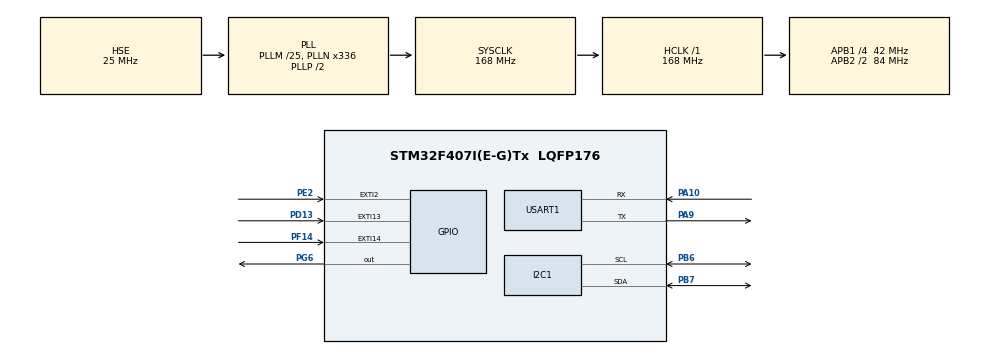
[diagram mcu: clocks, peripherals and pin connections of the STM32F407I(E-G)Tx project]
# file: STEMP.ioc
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I2C1.GeneralCallMode=I2C_GENERALCALL_ENABLE
IWDG.Prescaler=IWDG_PRESCALER_8
IWDG.Reload=2600
Mcu.Family=STM32F4
Mcu.Name=STM32F407I(E-G)Tx
Mcu.Package=LQFP176
NVIC.EXTI15_10_IRQn=true\:0\:0\:false\:false\:true\:true\:true\:true
NVIC.I2C1_ER_IRQn=true\:0\:0\:false\:false\:true\:true\:true\:true
NVIC.I2C1_EV_IRQn=true\:0\:0\:false\:false\:true\:true\:true\:true
NVIC.PriorityGroup=NVIC_PRIORITYGROUP_4
NVIC.USART1_IRQn=true\:0\:0\:false\:false\:true\:true\:true\:true
PA10.Mode=Asynchronous
PA10.Signal=USART1_RX
PA9.Mode=Asynchronous
PA9.Signal=USART1_TX
PB6.GPIO_Pu=GPIO_PULLUP
PB6.GPIO_Speed=GPIO_SPEED_FREQ_VERY_HIGH
PB6.Mode=I2C
PB6.Signal=I2C1_SCL
PB7.GPIO_Pu=GPIO_PULLUP
PB7.Mode=I2C
PB7.Signal=I2C1_SDA
PD13.GPIO_ModeDefaultEXTI=GPIO_MODE_IT_FALLING
PD13.Signal=GPXTI13
PE2.Signal=GPXTI2
PF14.GPIO_ModeDefaultEXTI=GPIO_MODE_IT_RISING_FALLING
PF14.GPIO_PuPd=GPIO_NOPULL
PF14.Signal=GPXTI14
PG6.Signal=GPIO_Output
PH0-OSC_IN.Mode=HSE-External-Oscillator
PH0-OSC_IN.Signal=RCC_OSC_IN
PH1-OSC_OUT.Mode=HSE-External-Oscillator
PH1-OSC_OUT.Signal=RCC_OSC_OUT
ProjectManager.HeapSize=0x200
ProjectManager.StackSize=0x400
ProjectManager.TargetToolchain=STM32CubeIDE
RCC.48MHZClocksFreq_Value=48000000
RCC.AHBFreq_Value=168000000
RCC.APB1CLKDivider=RCC_HCLK_DIV4
RCC.APB1Freq_Value=42000000
RCC.APB1TimFreq_Value=84000000
RCC.APB2CLKDivider=RCC_HCLK_DIV2
RCC.APB2Freq_Value=84000000
RCC.APB2TimFreq_Value=168000000
RCC.CortexFreq_Value=168000000
RCC.HCLKFreq_Value=168000000
RCC.HSE_VALUE=25000000
RCC.HSI_VALUE=16000000
RCC.LSE_VALUE=32768
RCC.PLLM=25
RCC.PLLN=336
RCC.PLLQ=7
RCC.PLLSourceVirtual=RCC_PLLSOURCE_HSE
RCC.SYSCLKFreq_VALUE=168000000
RCC.SYSCLKSource=RCC_SYSCLKSOURCE_PLLCLK
RCC.VCOOutputFreq_Value=336000000
USART1.VirtualMode=VM_ASYNC
VP_CRC_VS_CRC.Mode=CRC_Activate
VP_IWDG_VS_IWDG.Mode=IWDG_Activate
VP_RNG_VS_RNG.Mode=RNG_Activate
board=custom

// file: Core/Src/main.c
/* USER CODE BEGIN Header */
/**
  ******************************************************************************
  * @file           : main.c
  * @brief          : Main program body
  ******************************************************************************
  * @attention
  *
  * Copyright (c) 2024 STMicroelectronics.
  * All rights reserved.
  *
  * This software is licensed under terms that can be found in the LICENSE file
  * in the root directory of this software component.
  * If no LICENSE file comes with this software, it is provided AS-IS.
  *
  ******************************************************************************
  */
/* USER CODE END Header */
#include "main.h"

/* USER CODE BEGIN Includes */
#include "lm75a.h"
#include "beep.h"
#include "zlg7290.h"

#include "sm.h"

/* USER CODE END Includes */

CRC_HandleTypeDef hcrc;

I2C_HandleTypeDef hi2c1;

IWDG_HandleTypeDef hiwdg;

RNG_HandleTypeDef hrng;

UART_HandleTypeDef huart1;

void SystemClock_Config(void);
static void MX_GPIO_Init(void);
static void MX_I2C1_Init(void);
static void MX_USART1_UART_Init(void);
static void MX_CRC_Init(void);
static void MX_IWDG_Init(void);
static void MX_RNG_Init(void);

int main(void)
{

  /* USER CODE BEGIN 1 */
  extern void Boostrap();
  Boostrap();

  /* USER CODE END 1 */

  /* MCU Configuration--------------------------------------------------------*/

  /* Reset of all peripherals, Initializes the Flash interface and the Systick. */
  HAL_Init();

  /* Configure the system clock */
  SystemClock_Config();

  /* USER CODE BEGIN SysInit */

  // Delay for hardware reset
  HAL_Delay(50);

  /* USER CODE END SysInit */

  /* Initialize all configured peripherals */
  MX_GPIO_Init();
  MX_I2C1_Init();
  MX_USART1_UART_Init();
  MX_CRC_Init();
  MX_IWDG_Init();
  MX_RNG_Init();
  /* USER CODE BEGIN 2 */

  SM_Init();
  /* USER CODE END 2 */

  /* Infinite loop */
  while (1)
  {

    /* USER CODE BEGIN 3 */
#ifndef DEBUG
    HAL_IWDG_Refresh(&hiwdg);
#endif
    SM_Run();
  }
  /* USER CODE END 3 */
}

void SystemClock_Config(void)
{
  RCC_OscInitTypeDef RCC_OscInitStruct = {0};
  RCC_ClkInitTypeDef RCC_ClkInitStruct = {0};

  /** Configure the main internal regulator output voltage
  */
  __HAL_RCC_PWR_CLK_ENABLE();
  __HAL_PWR_VOLTAGESCALING_CONFIG(PWR_REGULATOR_VOLTAGE_SCALE1);

  /** Initializes the RCC Oscillators according to the specified parameters
  * in the RCC_OscInitTypeDef structure.
  */
  RCC_OscInitStruct.OscillatorType = RCC_OSCILLATORTYPE_LSI|RCC_OSCILLATORTYPE_HSE;
  RCC_OscInitStruct.HSEState = RCC_HSE_ON;
  RCC_OscInitStruct.LSIState = RCC_LSI_ON;
  RCC_OscInitStruct.PLL.PLLState = RCC_PLL_ON;
  RCC_OscInitStruct.PLL.PLLSource = RCC_PLLSOURCE_HSE;
  RCC_OscInitStruct.PLL.PLLM = 25;
  RCC_OscInitStruct.PLL.PLLN = 336;
  RCC_OscInitStruct.PLL.PLLP = RCC_PLLP_DIV2;
  RCC_OscInitStruct.PLL.PLLQ = 7;
  if (HAL_RCC_OscConfig(&RCC_OscInitStruct) != HAL_OK)
  {
    Error_Handler();
  }

  /** Initializes the CPU, AHB and APB buses clocks
  */
  RCC_ClkInitStruct.ClockType = RCC_CLOCKTYPE_HCLK|RCC_CLOCKTYPE_SYSCLK
                              |RCC_CLOCKTYPE_PCLK1|RCC_CLOCKTYPE_PCLK2;
  RCC_ClkInitStruct.SYSCLKSource = RCC_SYSCLKSOURCE_PLLCLK;
  RCC_ClkInitStruct.AHBCLKDivider = RCC_SYSCLK_DIV1;
  RCC_ClkInitStruct.APB1CLKDivider = RCC_HCLK_DIV4;
  RCC_ClkInitStruct.APB2CLKDivider = RCC_HCLK_DIV2;

  if (HAL_RCC_ClockConfig(&RCC_ClkInitStruct, FLASH_LATENCY_5) != HAL_OK)
  {
    Error_Handler();
  }
}

static void MX_CRC_Init(void)
{

  hcrc.Instance = CRC;
  if (HAL_CRC_Init(&hcrc) != HAL_OK)
  {
    Error_Handler();
  }

}

static void MX_I2C1_Init(void)
{

  hi2c1.Instance = I2C1;
  hi2c1.Init.ClockSpeed = 100000;
  hi2c1.Init.DutyCycle = I2C_DUTYCYCLE_2;
  hi2c1.Init.OwnAddress1 = 0;
  hi2c1.Init.AddressingMode = I2C_ADDRESSINGMODE_7BIT;
  hi2c1.Init.DualAddressMode = I2C_DUALADDRESS_DISABLE;
  hi2c1.Init.OwnAddress2 = 0;
  hi2c1.Init.GeneralCallMode = I2C_GENERALCALL_ENABLE;
  hi2c1.Init.NoStretchMode = I2C_NOSTRETCH_DISABLE;
  if (HAL_I2C_Init(&hi2c1) != HAL_OK)
  {
    Error_Handler();
  }

}

static void MX_IWDG_Init(void)
{

  /* USER CODE BEGIN IWDG_Init 0 */
#ifdef DEBUG
  return; // Disable IWDG in debug mode
#endif
  /* USER CODE END IWDG_Init 0 */

  hiwdg.Instance = IWDG;
  hiwdg.Init.Prescaler = IWDG_PRESCALER_8;
  hiwdg.Init.Reload = 2600;
  if (HAL_IWDG_Init(&hiwdg) != HAL_OK)
  {
    Error_Handler();
  }

}

static void MX_RNG_Init(void)
{

  hrng.Instance = RNG;
  if (HAL_RNG_Init(&hrng) != HAL_OK)
  {
    Error_Handler();
  }

}

static void MX_USART1_UART_Init(void)
{

  huart1.Instance = USART1;
  huart1.Init.BaudRate = 115200;
  huart1.Init.WordLength = UART_WORDLENGTH_8B;
  huart1.Init.StopBits = UART_STOPBITS_1;
  huart1.Init.Parity = UART_PARITY_NONE;
  huart1.Init.Mode = UART_MODE_TX_RX;
  huart1.Init.HwFlowCtl = UART_HWCONTROL_NONE;
  huart1.Init.OverSampling = UART_OVERSAMPLING_16;
  if (HAL_UART_Init(&huart1) != HAL_OK)
  {
    Error_Handler();
  }

}

static void MX_GPIO_Init(void)
{
  GPIO_InitTypeDef GPIO_InitStruct = {0};

  /* GPIO Ports Clock Enable */
  __HAL_RCC_GPIOE_CLK_ENABLE();
  __HAL_RCC_GPIOH_CLK_ENABLE();
  __HAL_RCC_GPIOF_CLK_ENABLE();
  __HAL_RCC_GPIOD_CLK_ENABLE();
  __HAL_RCC_GPIOG_CLK_ENABLE();
  __HAL_RCC_GPIOA_CLK_ENABLE();
  __HAL_RCC_GPIOB_CLK_ENABLE();

  /*Configure GPIO pin Output Level */
  HAL_GPIO_WritePin(GPIOG, GPIO_PIN_6, GPIO_PIN_RESET);

  /*Configure GPIO pin : PE2 */
  GPIO_InitStruct.Pin = GPIO_PIN_2;
  GPIO_InitStruct.Mode = GPIO_MODE_IT_RISING;
  GPIO_InitStruct.Pull = GPIO_NOPULL;
  HAL_GPIO_Init(GPIOE, &GPIO_InitStruct);

  /*Configure GPIO pin : PF14 */
  GPIO_InitStruct.Pin = GPIO_PIN_14;
  GPIO_InitStruct.Mode = GPIO_MODE_IT_RISING_FALLING;
  GPIO_InitStruct.Pull = GPIO_NOPULL;
  HAL_GPIO_Init(GPIOF, &GPIO_InitStruct);

  /*Configure GPIO pin : PD13 */
  GPIO_InitStruct.Pin = GPIO_PIN_13;
  GPIO_InitStruct.Mode = GPIO_MODE_IT_FALLING;
  GPIO_InitStruct.Pull = GPIO_NOPULL;
  HAL_GPIO_Init(GPIOD, &GPIO_InitStruct);

  /*Configure GPIO pin : PG6 */
  GPIO_InitStruct.Pin = GPIO_PIN_6;
  GPIO_InitStruct.Mode = GPIO_MODE_OUTPUT_PP;
  GPIO_InitStruct.Pull = GPIO_NOPULL;
  GPIO_InitStruct.Speed = GPIO_SPEED_FREQ_LOW;
  HAL_GPIO_Init(GPIOG, &GPIO_InitStruct);

  /* EXTI interrupt init*/
  HAL_NVIC_SetPriority(EXTI15_10_IRQn, 0, 0);
  HAL_NVIC_EnableIRQ(EXTI15_10_IRQn);

}

void Error_Handler(void)
{
  /* USER CODE BEGIN Error_Handler_Debug */

  // Try to restart the system if an error occurs
  // TODO: Try to not lose the current state
  extern void Reset_Handler();
  Reset_Handler();

  /* User can add his own implementation to report the HAL error return state */
  __disable_irq();
  while (1)
  {
  }
  /* USER CODE END Error_Handler_Debug */
}
